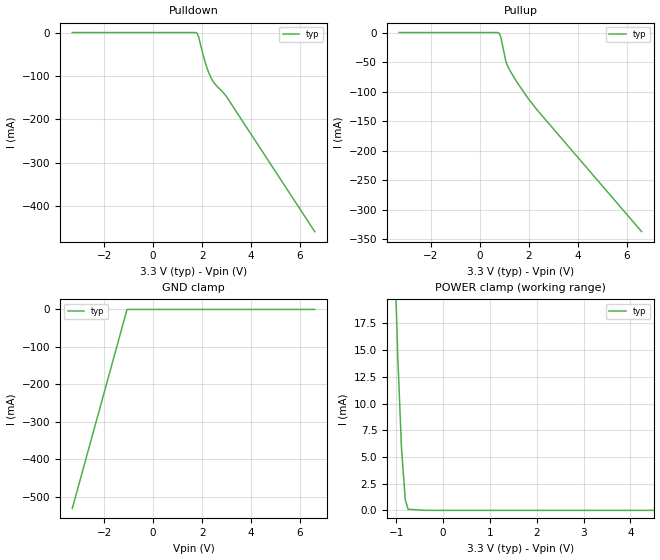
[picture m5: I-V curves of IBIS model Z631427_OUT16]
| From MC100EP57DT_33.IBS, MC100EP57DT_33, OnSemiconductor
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| (C) COPYRIGHT 1993-2000
| MENTOR GRAPHICS CORPORATION
| ICX STANDARD LIBRARY, ICX PROJECT MODELING,
| ICX CUSTOM MODELING, ICX VENDOR MODEL
| ALL RIGHTS RESERVED.
| THE FOLLOWING ARE TRADEMARKS OR SERVICE MARKS OF
| MENTOR GRAPHICS CORPORATION:ICX (R), ICX STANDARD
| LIBRARY(R), ICX PROJECT MODELING(R), ICX CUSTOM
| MODELING(R), qualityIBIS(TM), MODELVIEWER(TM),
| AND MODELEDITOR(TM)
| ALL COPIES OF SOFTWARE, INCLUDING BUT NOT LIMITED TO
| ANY MODIFICATIONS, ENHANCEMENTS OR DERIVATIVE WORKS,
| MUST CONTAIN ALL MENTOR GRAPHICS CORPORATION'S
| NOTICES AND LEGENDS, INCLUDING THOSE EMBEDDED IN
| SOFTWARE AND THOSE AFFIXED TO SOFTWARE MEDIUM
| AND CONTAINER, AS RECEIVED FROM MENTOR GRAPHICS
| CORPORATION.
| Model Application Version 1.89 2/18/99.
[Model] Z631427_OUT16
Model_type Output_ECL
Vref=1.300V
Rref=50.00ohms
Cref=0.000F
Vmeas=1.805V
C_comp 2.000pF NA NA
| variable typ   min   max
[Voltage Range] 3.300V NA NA
[POWER Clamp Reference] 3.300V NA NA
[Pullup Reference] 3.300V NA NA
[Pulldown Reference] 3.300V NA NA
[GND Clamp Reference] 0.000V NA NA
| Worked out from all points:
|   POWER clamp passes 1 mA (typ) near -0.81 V on its own axis
[GND Clamp]
-3.3V     -531.2mA   NA         NA
-1.064V   0A         NA         NA
6.6V      0A         NA         NA
[Pulldown]
-3.3V     0A         NA         NA
1.679V    0A         NA         NA
1.8V      -2.1mA     NA         NA
1.861V    -10.1mA    NA         NA
2.023V    -47.8mA    NA         NA
2.165V    -75.8mA    NA         NA
2.266V    -91.9mA    NA         NA
2.409V    -109.2mA   NA         NA
2.591V    -122.7mA   NA         NA
2.976V    -145.8mA   NA         NA
6.6V      -458.5mA   NA         NA
[Pullup]
-3.3V     0A         NA         NA
771mV     -900uA     NA         NA
792mV     -1.7mA     NA         NA
853mV     -8.2mA     NA         NA
1.055V    -48.4mA    NA         NA
1.136V    -57.2mA    NA         NA
1.521V    -84.7mA    NA         NA
1.947V    -110.3mA   NA         NA
2.312V    -129.9mA   NA         NA
6.6V      -336.8mA   NA         NA
[POWER Clamp]
-3.3V     416.2mA    NA         NA
-1.073V   29.2mA     NA         NA
-972mV    14.6mA     NA         NA
-891mV    5.8mA      NA         NA
-810mV    1mA        NA         NA
-749mV    100uA      NA         NA
-374.5mV  0A         NA         NA
6.6V      0A         NA         NA
[Ramp]
| variable typ min max
dV/dt_r 411.9m/94.21p NA NA
dV/dt_f 411.9m/88.31p NA NA
R_load = 50.00Ohms
